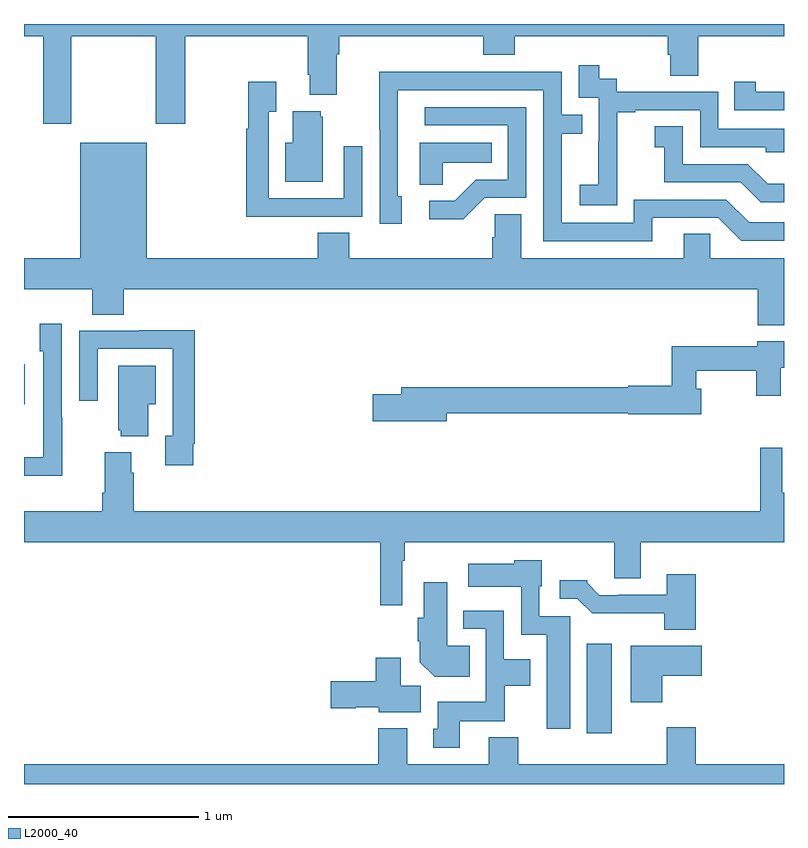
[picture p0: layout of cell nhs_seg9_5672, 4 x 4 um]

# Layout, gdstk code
import gdstk
lib = gdstk.Library(unit=1e-6, precision=1e-09)
def R(c, l, rs):  # rectangles x0, y0, x1, y1
    for r in rs: c.add(gdstk.rectangle(r[:2], r[2:], *l))
def P(c, l, *ps):  # polygons
    for p in ps: c.add(gdstk.Polygon(p, *l))
L2000_40 = (2000, 40)

nhs_seg9_5672 = lib.new_cell('nhs_seg9_5672')
R(nhs_seg9_5672, L2000_40, [(443.963,1176.768,444.094,1177.237), (441,1178.498,441.004,1178.71)])
P(nhs_seg9_5672, L2000_40, [(441.249,1180.436),(441.694,1180.436),(441.694,1179.975),(441.849,1179.975),(441.849,1180.436),(442.493,1180.436),(442.493,1180.234),(442.505,1180.234),(442.505,1180.127),(442.645,1180.127),(442.645,1180.34),(442.658,1180.34),(442.658,1180.436),(443.417,1180.436),(443.417,1180.337),(443.582,1180.337),(443.582,1180.436),(444.389,1180.436),(444.389,1180.338),(444.401,1180.338),(444.401,1180.228),(444.549,1180.228),(444.549,1180.436),(445,1180.436),(445,1180.5),(441,1180.5),(441,1180.436),(441.101,1180.436),(441.101,1179.975),(441.249,1179.975)],
  [(444.123,1179.751),(444.122,1179.751),(444.122,1180.035),(444.217,1180.035),(444.217,1180.047),(444.558,1180.047),(444.558,1179.852),(444.903,1179.852),(444.903,1179.825),(445,1179.825),(445,1179.948),(444.654,1179.948),(444.654,1180.143),(444.12,1180.143),(444.12,1180.212),(444.028,1180.212),(444.028,1180.282),(443.919,1180.282),(443.919,1180.113),(444.024,1180.113),(444.024,1179.884),(444.023,1179.884),(444.023,1179.655),(443.925,1179.655),(443.925,1179.545),(444.123,1179.545)],
  [(444.307,1179.48),(444.654,1179.48),(444.774,1179.36),(445,1179.36),(445,1179.456),(444.816,1179.456),(444.696,1179.576),(444.21,1179.576),(444.21,1179.453),(443.829,1179.453),(443.829,1179.922),(443.939,1179.922),(443.939,1180.023),(443.829,1180.023),(443.829,1180.248),(443.333,1180.248),(443.333,1180.25),(442.87,1180.25),(442.87,1179.943),(442.872,1179.943),(442.872,1179.45),(442.987,1179.45),(442.987,1179.594),(442.968,1179.594),(442.968,1180.152),(443.733,1180.152),(443.733,1179.357),(444.307,1179.357)],
  [(442.463,1179.486),(442.779,1179.486),(442.779,1179.856),(442.683,1179.856),(442.683,1179.582),(442.287,1179.582),(442.287,1180.039),(442.327,1180.039),(442.327,1180.195),(442.179,1180.195),(442.179,1179.95),(442.171,1179.95),(442.171,1179.485),(442.463,1179.485)],
  [(445,1180.143),(444.85,1180.143),(444.85,1180.195),(444.739,1180.195),(444.739,1180.047),(445,1180.047)],
  [(443.424,1179.585),(443.643,1179.585),(443.643,1180.062),(443.109,1180.062),(443.109,1179.966),(443.547,1179.966),(443.547,1179.681),(443.378,1179.681),(443.267,1179.57),(443.133,1179.57),(443.133,1179.473),(443.311,1179.473)],
  [(442.573,1180.011),(442.562,1180.011),(442.562,1180.042),(442.415,1180.042),(442.415,1179.874),(442.376,1179.874),(442.376,1179.671),(442.573,1179.671)],
  [(445,1179.658),(444.914,1179.658),(444.81,1179.762),(444.468,1179.762),(444.468,1179.961),(444.321,1179.961),(444.321,1179.851),(444.37,1179.851),(444.37,1179.666),(444.773,1179.666),(444.878,1179.561),(445,1179.561)],
  [(443.205,1179.77),(443.462,1179.77),(443.462,1179.874),(443.084,1179.874),(443.084,1179.655),(443.205,1179.655)],
  [(445,1179.268),(444.612,1179.268),(444.612,1179.395),(444.473,1179.395),(444.473,1179.268),(443.617,1179.268),(443.617,1179.5),(443.478,1179.5),(443.478,1179.377),(443.465,1179.377),(443.465,1179.268),(442.712,1179.268),(442.712,1179.401),(442.547,1179.401),(442.547,1179.268),(441.646,1179.268),(441.646,1179.874),(441.296,1179.874),(441.296,1179.268),(441,1179.268),(441,1179.104),(441.359,1179.104),(441.359,1178.971),(441.524,1178.971),(441.524,1179.104),(444.863,1179.104),(444.863,1178.915),(445,1178.915)],
  [(441.201,1178.429),(441.198,1178.429),(441.198,1178.923),(441.083,1178.923),(441.083,1178.778),(441.102,1178.778),(441.102,1178.471),(441.101,1178.471),(441.101,1178.22),(441,1178.22),(441,1178.123),(441.201,1178.123)],
  [(441.892,1178.29),(441.899,1178.29),(441.899,1178.888),(441.607,1178.888),(441.607,1178.886),(441.291,1178.886),(441.291,1178.517),(441.387,1178.517),(441.387,1178.79),(441.783,1178.79),(441.783,1178.334),(441.743,1178.334),(441.743,1178.178),(441.892,1178.178)],
  [(443.224,1178.452),(444.18,1178.452),(444.18,1178.447),(444.564,1178.447),(444.564,1178.581),(444.538,1178.581),(444.538,1178.674),(444.853,1178.674),(444.853,1178.544),(444.982,1178.544),(444.982,1178.692),(445,1178.692),(445,1178.83),(444.86,1178.83),(444.86,1178.803),(444.409,1178.803),(444.409,1178.596),(444.18,1178.596),(444.18,1178.588),(442.985,1178.588),(442.985,1178.552),(442.836,1178.552),(442.836,1178.41),(443.224,1178.41)],
  [(441.655,1178.498),(441.694,1178.498),(441.694,1178.701),(441.497,1178.701),(441.497,1178.361),(441.509,1178.361),(441.509,1178.33),(441.655,1178.33)],
  [(442.992,1177.676),(443.005,1177.676),(443.005,1177.772),(444.107,1177.772),(444.107,1177.582),(444.247,1177.582),(444.247,1177.772),(445,1177.772),(445,1178.032),(444.99,1178.032),(444.99,1178.269),(444.874,1178.269),(444.874,1177.936),(441.578,1177.936),(441.578,1178.138),(441.565,1178.138),(441.565,1178.245),(441.425,1178.245),(441.425,1178.032),(441.413,1178.032),(441.413,1177.936),(441,1177.936),(441,1177.772),(442.876,1177.772),(442.876,1177.44),(442.992,1177.44)],
  [(443.875,1177.383),(443.712,1177.383),(443.712,1177.542),(443.725,1177.542),(443.725,1177.678),(443.58,1177.678),(443.58,1177.66),(443.337,1177.66),(443.337,1177.538),(443.616,1177.538),(443.616,1177.286),(443.75,1177.286),(443.75,1176.792),(443.875,1176.792)],
  [(444.536,1177.603),(444.383,1177.603),(444.383,1177.497),(444.127,1177.497),(444.127,1177.494),(444.028,1177.494),(443.964,1177.558),(443.964,1177.573),(443.82,1177.573),(443.82,1177.476),(443.913,1177.476),(443.992,1177.398),(444.371,1177.398),(444.371,1177.313),(444.536,1177.313)],
  [(443.345,1177.228),(443.227,1177.228),(443.227,1177.561),(443.105,1177.561),(443.105,1177.374),(443.072,1177.374),(443.072,1177.252),(443.084,1177.252),(443.084,1177.142),(443.162,1177.064),(443.345,1177.064)],
  [(443.293,1176.83),(443.529,1176.83),(443.529,1177.016),(443.665,1177.016),(443.665,1177.156),(443.526,1177.156),(443.526,1177.413),(443.313,1177.413),(443.313,1177.317),(443.43,1177.317),(443.43,1176.934),(443.177,1176.934),(443.177,1176.792),(443.153,1176.792),(443.153,1176.69),(443.293,1176.69)],
  [(444.358,1177.07),(444.568,1177.07),(444.568,1177.228),(444.194,1177.228),(444.194,1176.93),(444.358,1176.93)],
  [(443.089,1177.016),(442.984,1177.016),(442.984,1177.165),(442.85,1177.165),(442.85,1177.04),(442.614,1177.04),(442.614,1176.898),(442.746,1176.898),(442.746,1176.905),(442.866,1176.905),(442.866,1176.878),(443.089,1176.878)],
  [(443.6,1176.745),(443.447,1176.745),(443.447,1176.604),(443.017,1176.604),(443.017,1176.793),(442.865,1176.793),(442.865,1176.604),(441,1176.604),(441,1176.5),(445,1176.5),(445,1176.604),(444.536,1176.604),(444.536,1176.799),(444.383,1176.799),(444.383,1176.604),(443.6,1176.604)])

lib.write_gds('nhs_seg9_5672.gds')
